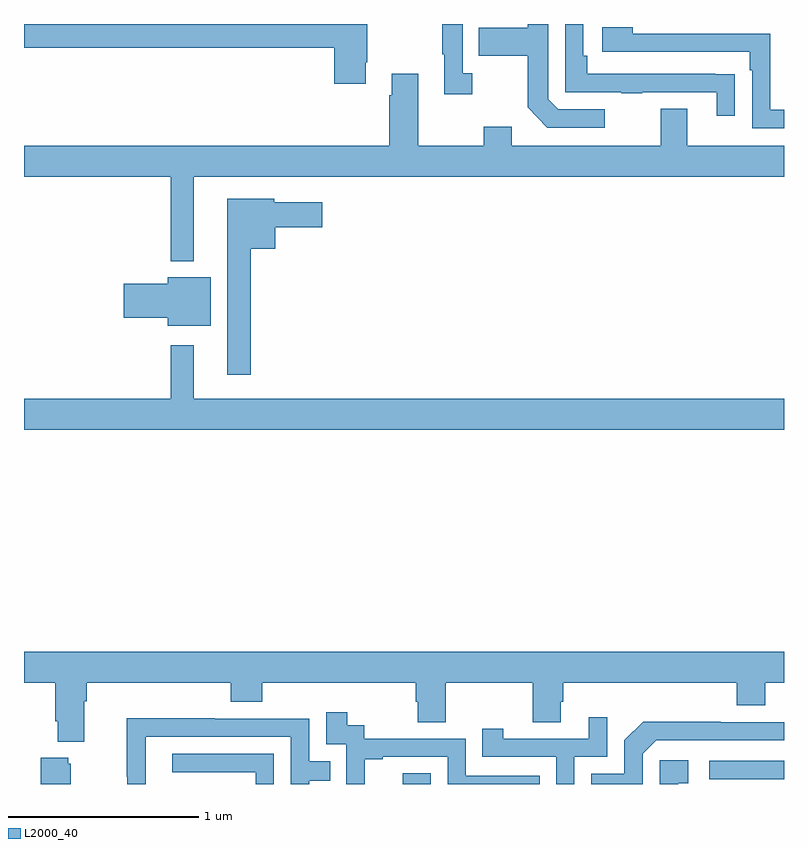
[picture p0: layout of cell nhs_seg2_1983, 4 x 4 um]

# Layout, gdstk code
import gdstk
lib = gdstk.Library(unit=1e-6, precision=1e-09)
def R(c, l, rs):  # rectangles x0, y0, x1, y1
    for r in rs: c.add(gdstk.rectangle(r[:2], r[2:], *l))
def P(c, l, *ps):  # polygons
    for p in ps: c.add(gdstk.Polygon(p, *l))
L2000_40 = (2000, 40)

nhs_seg2_1983 = lib.new_cell('nhs_seg2_1983')
R(nhs_seg2_1983, L2000_40, [(216.993,617.8,217.14,617.857), (218.607,617.826,219,617.922)])
P(nhs_seg2_1983, L2000_40, [(218.741,621.536),(218.639,621.536),(218.639,621.537),(217.964,621.537),(217.964,621.634),(217.944,621.634),(217.944,621.8),(217.848,621.8),(217.848,621.441),(218.143,621.441),(218.143,621.436),(218.255,621.436),(218.255,621.441),(218.645,621.441),(218.645,621.318),(218.741,621.318)],
  [(216.799,621.598),(216.807,621.598),(216.807,621.8),(215,621.8),(215,621.676),(216.632,621.676),(216.632,621.486),(216.799,621.486)],
  [(218.056,621.351),(217.812,621.351),(217.758,621.405),(217.758,621.8),(217.65,621.8),(217.65,621.781),(217.393,621.781),(217.393,621.634),(217.65,621.634),(217.65,621.361),(217.755,621.255),(218.056,621.255)],
  [(217.36,621.542),(217.308,621.542),(217.308,621.8),(217.2,621.8),(217.2,621.641),(217.211,621.641),(217.211,621.429),(217.36,621.429)],
  [(219,621.348),(218.928,621.348),(218.928,621.75),(218.204,621.75),(218.204,621.784),(218.043,621.784),(218.043,621.654),(218.819,621.654),(218.819,621.557),(218.832,621.557),(218.832,621.252),(219,621.252)],
  [(215.893,620.996),(219,620.996),(219,621.16),(218.491,621.16),(218.491,621.355),(218.351,621.355),(218.351,621.16),(217.567,621.16),(217.567,621.259),(217.42,621.259),(217.42,621.16),(217.075,621.16),(217.075,621.538),(216.935,621.538),(216.935,621.425),(216.923,621.425),(216.923,621.16),(215,621.16),(215,620.996),(215.772,620.996),(215.772,620.552),(215.893,620.552)],
  [(216.193,620.618),(216.322,620.618),(216.322,620.729),(216.571,620.729),(216.571,620.863),(216.318,620.863),(216.318,620.881),(216.071,620.881),(216.071,619.953),(216.193,619.953)],
  [(215.983,620.467),(215.756,620.467),(215.756,620.432),(215.526,620.432),(215.526,620.254),(215.756,620.254),(215.756,620.213),(215.983,620.213)],
  [(219,619.828),(215.893,619.828),(215.893,620.11),(215.772,620.11),(215.772,619.828),(215,619.828),(215,619.664),(219,619.664)],
  [(215.317,618.236),(215.33,618.236),(215.33,618.332),(216.089,618.332),(216.089,618.233),(216.254,618.233),(216.254,618.332),(217.061,618.332),(217.061,618.234),(217.073,618.234),(217.073,618.124),(217.221,618.124),(217.221,618.332),(217.678,618.332),(217.678,618.124),(217.825,618.124),(217.825,618.234),(217.838,618.234),(217.838,618.332),(218.75,618.332),(218.75,618.215),(218.902,618.215),(218.902,618.332),(219,618.332),(219,618.496),(215,618.496),(215,618.332),(215.165,618.332),(215.165,618.13),(215.177,618.13),(215.177,618.023),(215.317,618.023)],
  [(216.794,617.931),(216.889,617.931),(216.889,617.943),(217.23,617.943),(217.23,617.8),(217.715,617.8),(217.715,617.844),(217.326,617.844),(217.326,618.039),(216.792,618.039),(216.792,618.108),(216.7,618.108),(216.7,618.178),(216.591,618.178),(216.591,618.009),(216.696,618.009),(216.696,617.8),(216.794,617.8)],
  [(217.896,617.943),(218.07,617.943),(218.07,618.151),(217.973,618.151),(217.973,618.039),(217.522,618.039),(217.522,618.091),(217.411,618.091),(217.411,617.943),(217.8,617.943),(217.8,617.8),(217.896,617.8)],
  [(215.64,618.048),(216.405,618.048),(216.405,617.8),(216.501,617.8),(216.501,617.818),(216.611,617.818),(216.611,617.919),(216.501,617.919),(216.501,618.144),(216.005,618.144),(216.005,618.146),(215.542,618.146),(215.542,617.839),(215.544,617.839),(215.544,617.8),(215.64,617.8)],
  [(218.256,617.958),(218.328,618.03),(219,618.03),(219,618.126),(218.666,618.126),(218.666,618.128),(218.258,618.128),(218.16,618.03),(218.16,617.853),(217.986,617.853),(217.986,617.8),(218.256,617.8)],
  [(216.315,617.958),(215.781,617.958),(215.781,617.862),(216.219,617.862),(216.219,617.8),(216.315,617.8)],
  [(215.245,617.907),(215.234,617.907),(215.234,617.938),(215.087,617.938),(215.087,617.8),(215.245,617.8)],
  [(218.444,617.805),(218.497,617.805),(218.497,617.926),(218.346,617.926),(218.346,617.8),(218.444,617.8)])

lib.write_gds('nhs_seg2_1983.gds')
